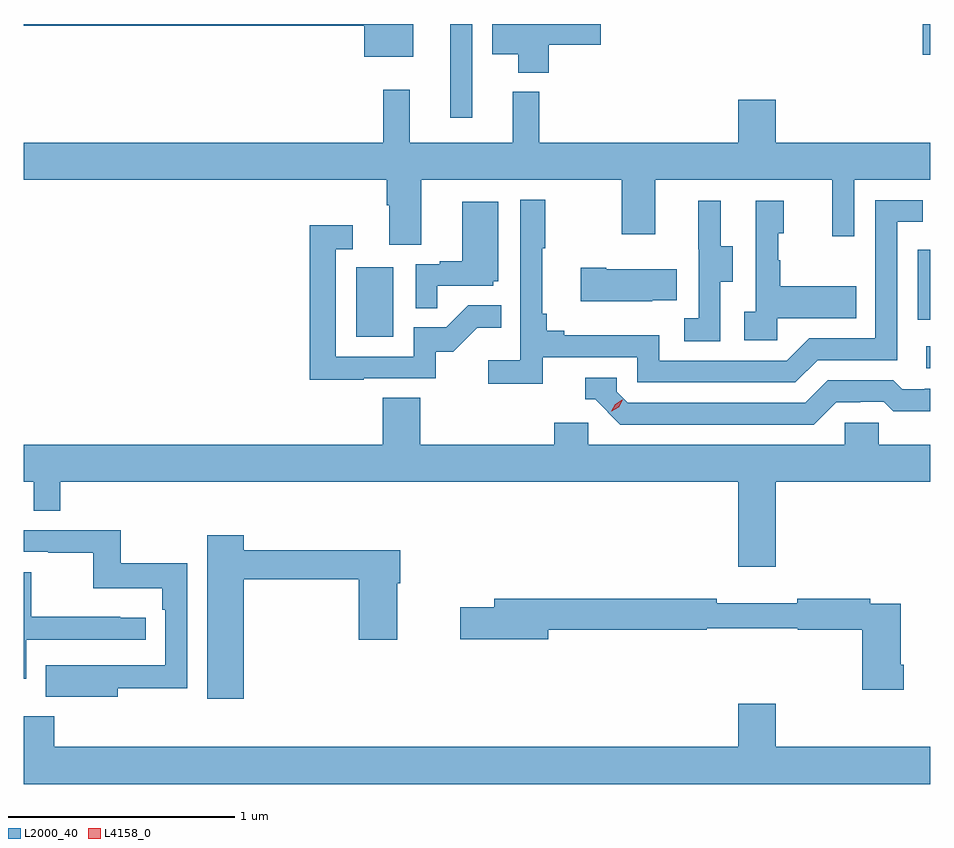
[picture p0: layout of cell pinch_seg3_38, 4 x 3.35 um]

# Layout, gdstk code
import gdstk
lib = gdstk.Library(unit=1e-6, precision=1e-09)
def R(c, l, rs):  # rectangles x0, y0, x1, y1
    for r in rs: c.add(gdstk.rectangle(r[:2], r[2:], *l))
def P(c, l, *ps):  # polygons
    for p in ps: c.add(gdstk.Polygon(p, *l))
L2000_40 = (2000, 40)
L4158_0 = (4158, 0)

pinch_seg3_38 = lib.new_cell('pinch_seg3_38')
R(pinch_seg3_38, L2000_40, [(1088.913,733.386,1088.931,733.482), (1086.398,733.524,1086.562,733.831), (1088.874,733.599,1088.931,733.908), (1086.812,734.49,1086.909,734.904), (1088.897,734.769,1088.931,734.904)])
P(pinch_seg3_38, L2000_40, [(1087.247,734.812),(1087.477,734.812),(1087.477,734.904),(1086.998,734.904),(1086.998,734.771),(1087.112,734.771),(1087.112,734.69),(1087.247,734.69)],
  [(1086.649,734.904),(1084.931,734.904),(1084.931,734.896),(1086.434,734.896),(1086.434,734.759),(1086.649,734.759)],
  [(1086.685,734.216),(1087.57,734.216),(1087.57,733.977),(1087.717,733.977),(1087.717,734.216),(1088.498,734.216),(1088.498,733.968),(1088.595,733.968),(1088.595,734.216),(1088.931,734.216),(1088.931,734.38),(1088.248,734.38),(1088.248,734.569),(1088.084,734.569),(1088.084,734.38),(1087.205,734.38),(1087.205,734.605),(1087.088,734.605),(1087.088,734.38),(1086.635,734.38),(1086.635,734.614),(1086.517,734.614),(1086.517,734.38),(1084.931,734.38),(1084.931,734.216),(1086.533,734.216),(1086.533,734.104),(1086.545,734.104),(1086.545,733.93),(1086.685,733.93)],
  [(1087.22,733.434),(1087.638,733.434),(1087.638,733.323),(1088.335,733.323),(1088.434,733.422),(1088.784,733.422),(1088.784,734.031),(1088.897,734.031),(1088.897,734.127),(1088.688,734.127),(1088.688,733.518),(1088.397,733.518),(1088.298,733.419),(1087.734,733.419),(1087.734,733.531),(1087.315,733.531),(1087.315,733.55),(1087.238,733.55),(1087.238,733.627),(1087.219,733.627),(1087.219,733.915),(1087.231,733.915),(1087.231,734.128),(1087.122,734.128),(1087.122,733.42),(1086.981,733.42),(1086.981,733.318),(1087.22,733.318)],
  [(1088.004,733.768),(1088.059,733.768),(1088.059,733.923),(1088.005,733.923),(1088.005,734.125),(1087.907,734.125),(1087.907,733.911),(1087.908,733.911),(1087.908,733.607),(1087.845,733.607),(1087.845,733.504),(1088.004,733.504)],
  [(1088.256,733.607),(1088.603,733.607),(1088.603,733.747),(1088.269,733.747),(1088.269,733.862),(1088.259,733.862),(1088.259,733.98),(1088.284,733.98),(1088.284,734.125),(1088.16,734.125),(1088.16,733.634),(1088.109,733.634),(1088.109,733.509),(1088.256,733.509)],
  [(1086.755,733.749),(1087.002,733.749),(1087.002,733.77),(1087.024,733.77),(1087.024,734.119),(1086.866,734.119),(1086.866,733.858),(1086.767,733.858),(1086.767,733.845),(1086.66,733.845),(1086.66,733.651),(1086.755,733.651)],
  [(1086.431,733.341),(1086.75,733.341),(1086.75,733.458),(1086.826,733.458),(1086.933,733.565),(1087.037,733.565),(1087.037,733.664),(1086.893,733.664),(1086.795,733.566),(1086.651,733.566),(1086.651,733.437),(1086.309,733.437),(1086.309,733.911),(1086.382,733.911),(1086.382,734.017),(1086.193,734.017),(1086.193,733.336),(1086.431,733.336)],
  [(1087.703,733.685),(1087.811,733.685),(1087.811,733.822),(1087.501,733.822),(1087.501,733.83),(1087.389,733.83),(1087.389,733.682),(1087.703,733.682)],
  [(1088.515,733.236),(1088.622,733.236),(1088.622,733.239),(1088.725,733.239),(1088.767,733.197),(1088.931,733.197),(1088.931,733.296),(1088.905,733.296),(1088.905,733.293),(1088.806,733.293),(1088.767,733.332),(1088.478,733.332),(1088.379,733.233),(1087.596,733.233),(1087.548,733.281),(1087.548,733.344),(1087.409,733.344),(1087.409,733.248),(1087.452,733.248),(1087.563,733.137),(1088.416,733.137)],
  [(1088.248,732.884),(1088.931,732.884),(1088.931,733.048),(1088.703,733.048),(1088.703,733.146),(1088.553,733.146),(1088.553,733.048),(1087.422,733.048),(1087.422,733.146),(1087.271,733.146),(1087.271,733.048),(1086.68,733.048),(1086.68,733.256),(1086.515,733.256),(1086.515,733.048),(1084.931,733.048),(1084.931,732.884),(1084.977,732.884),(1084.977,732.757),(1085.093,732.757),(1085.093,732.884),(1088.084,732.884),(1088.084,732.51),(1088.248,732.51)],
  [(1085.347,731.974),(1085.652,731.974),(1085.652,732.526),(1085.359,732.526),(1085.359,732.672),(1084.931,732.672),(1084.931,732.576),(1085.041,732.576),(1085.041,732.571),(1085.238,732.571),(1085.238,732.416),(1085.543,732.416),(1085.543,732.32),(1085.556,732.32),(1085.556,732.075),(1085.243,732.075),(1085.243,732.076),(1085.029,732.076),(1085.029,731.936),(1085.347,731.936)],
  [(1085.902,732.454),(1086.41,732.454),(1086.41,732.189),(1086.58,732.189),(1086.58,732.437),(1086.593,732.437),(1086.593,732.583),(1085.902,732.583),(1085.902,732.649),(1085.741,732.649),(1085.741,731.928),(1085.902,731.928)],
  [(1084.944,732.189),(1085.47,732.189),(1085.47,732.285),(1085.357,732.285),(1085.357,732.29),(1084.964,732.29),(1084.964,732.486),(1084.931,732.486),(1084.931,732.017),(1084.944,732.017)],
  [(1088.813,732.079),(1088.8,732.079),(1088.8,732.348),(1088.666,732.348),(1088.666,732.368),(1088.344,732.368),(1088.344,732.349),(1087.988,732.349),(1087.988,732.368),(1087.007,732.368),(1087.007,732.332),(1086.858,732.332),(1086.858,732.19),(1087.246,732.19),(1087.246,732.232),(1087.944,732.232),(1087.944,732.24),(1088.346,732.24),(1088.346,732.232),(1088.63,732.232),(1088.63,731.967),(1088.813,731.967)],
  [(1088.931,731.716),(1088.248,731.716),(1088.248,731.905),(1088.084,731.905),(1088.084,731.716),(1085.066,731.716),(1085.066,731.851),(1084.931,731.851),(1084.931,731.552),(1088.931,731.552)])
P(pinch_seg3_38, L4158_0, [(1087.524,733.195),(1087.524,733.195),(1087.541,733.228),(1087.572,733.246),(1087.573,733.246),(1087.573,733.246),(1087.556,733.214),(1087.525,733.195)])

lib.write_gds('pinch_seg3_38.gds')
